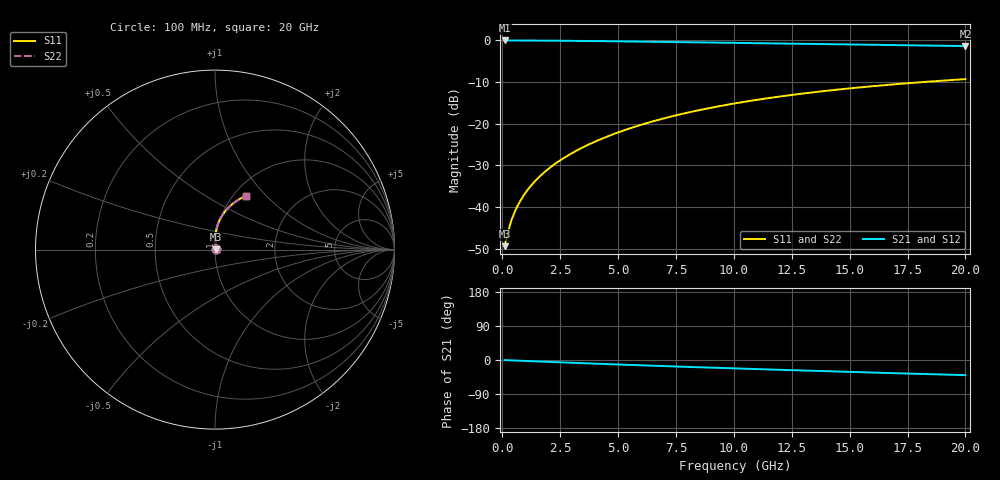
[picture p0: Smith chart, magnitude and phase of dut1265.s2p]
! Touchstone file exported from HFSS 2024.1.0
!  File:  C:/UserFiles/LocalFiles/RDL_TSV_Batchsim/temp_RDL_top_1265_1780241931.aedt
!  Generated:  11:41:24 PM May 31, 2026
!  Design:  RDL_top
!  Project:  temp_RDL_top_1265_1780241931
!  Setup:  Setup1
!  Solution:  Sweep
! Variables:
!  dtsv = 10.80580581um
!  hbump = 3um
!  htsv = 92.15um
!  ldown = 100um
!  lrdl = 543.17um
!  p = 40
!  p1 = 59.11um
!  rhole = 1um
!  t = 450um
!  tdown = 3.915915916um
!  trdl = 2.49um
!  wdown = 15.38538539um
!  wrdl = 29.4um
# GHz S MA R 50.000000
! Terminal data exported
! Port[1] = Box2_T1
! Port[2] = Box2_T2
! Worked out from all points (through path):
!   200 points, 100 MHz to 20 GHz, reference 50 ohm
!   highest |S21| = -0.03 dB at 100 MHz (marker M1); lowest = -1.4 dB at 20 GHz (marker M2)
!   group delay of S21, straight-line fit = 5.48 ps
!   lowest |S11| = -49.4 dB at 100 MHz (marker M3), VSWR 1.01, Z = 50.3 + j0.163 ohm
!   |S11| at or under -10 dB: start of sweep to 18.18 GHz
!   |S22| runs from -49.4 to -9.3 dB; largest |S21 - S12| = 4.3e-15
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0.1  0.003391 28.6  0.997 -0.3  0.997 -0.3  0.003391 28.6
! Gamma 0 0 0 0
! Port Impedance 50 0 50 0
0.3  0.005701 55.3  0.9966 -0.8  0.9966 -0.8  0.005701 55.3
0.4  0.006988 61.1  0.9964 -1.0  0.9964 -1.0  0.006988 61.1
0.5  0.008275 65.1  0.9962 -1.3  0.9962 -1.3  0.008275 65.1
0.6  0.009563 68.2  0.9959 -1.5  0.9959 -1.5  0.009563 68.2
0.8  0.01216 72.7  0.9955 -2.0  0.9955 -2.0  0.01216 72.7
1  0.0148 76.0  0.995 -2.5  0.995 -2.5  0.0148 76.0
1.2  0.0175 78.4  0.9945 -3.0  0.9945 -3.0  0.0175 78.4
1.7  0.02447 82.5  0.9929 -4.2  0.9929 -4.2  0.02447 82.5
2.2  0.03178 85.0  0.9908 -5.4  0.9908 -5.4  0.03178 85.0
2.8  0.04099 86.8  0.9879 -6.8  0.9879 -6.8  0.04099 86.8
3.5  0.05233 87.9  0.9838 -8.5  0.9838 -8.5  0.05232 87.9
4.2  0.06427 88.3  0.9792 -10.1  0.9792 -10.1  0.06425 88.3
5  0.07854 88.2  0.9735 -11.9  0.9735 -11.9  0.07852 88.1
5.9  0.09524 87.4  0.9666 -13.8  0.9666 -13.8  0.09521 87.4
6.8  0.1124 86.2  0.9595 -15.7  0.9595 -15.7  0.1124 86.2
8.4  0.1434 83.4  0.9465 -19.0  0.9465 -19.0  0.1434 83.4
10.1  0.1763 80.1  0.9327 -22.3  0.9327 -22.3  0.1762 80.0
11.7  0.2065 76.7  0.9197 -25.4  0.9197 -25.4  0.2064 76.7
13.4  0.2375 73.2  0.906 -28.5  0.906 -28.5  0.2373 73.1
16.7  0.2932 66.5  0.8795 -34.4  0.8795 -34.4  0.293 66.5
20  0.3427 60.3  0.8536 -40.0  0.8536 -40.0  0.3424 60.2
